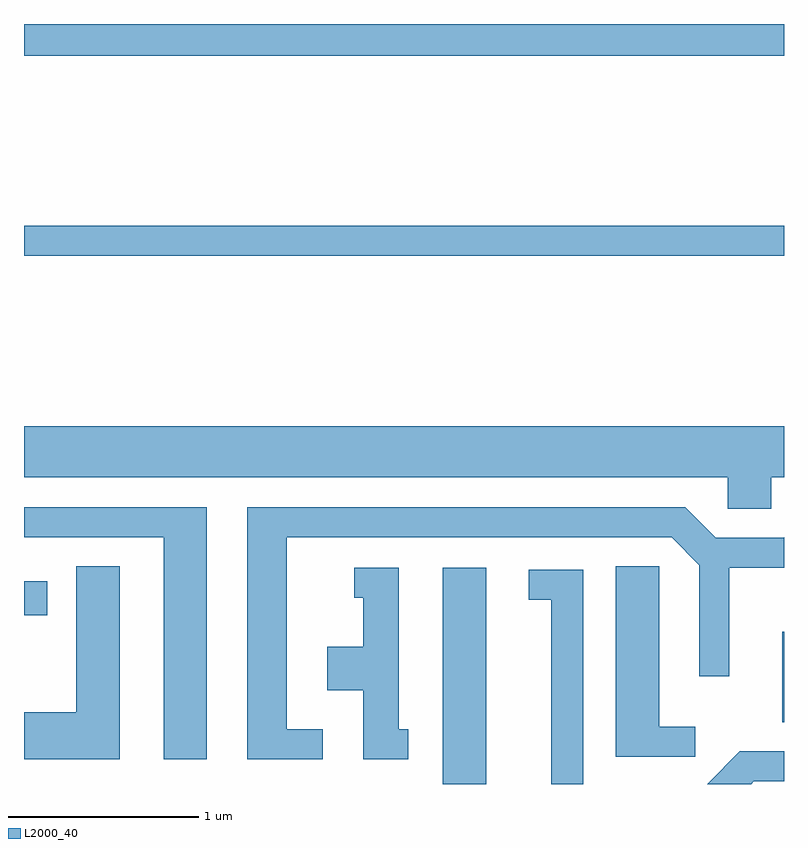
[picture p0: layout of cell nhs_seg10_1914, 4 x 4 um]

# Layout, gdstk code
import gdstk
lib = gdstk.Library(unit=1e-6, precision=1e-09)
def R(c, l, rs):  # rectangles x0, y0, x1, y1
    for r in rs: c.add(gdstk.rectangle(r[:2], r[2:], *l))
def P(c, l, *ps):  # polygons
    for p in ps: c.add(gdstk.Polygon(p, *l))
L2000_40 = (2000, 40)

nhs_seg10_1914 = lib.new_cell('nhs_seg10_1914')
R(nhs_seg10_1914, L2000_40, [(243.816,2114.522,244.044,2115.659), (245.601,2114.846,245.611,2115.324), (241.611,2115.411,241.734,2115.589), (241.611,2117.301,245.611,2117.459), (241.611,2118.356,245.611,2118.522)])
P(nhs_seg10_1914, L2000_40, [(245.544,2116.136),(245.611,2116.136),(245.611,2116.404),(241.611,2116.404),(241.611,2116.136),(245.316,2116.136),(245.316,2115.971),(245.544,2115.971)],
  [(242.574,2115.979),(241.611,2115.979),(241.611,2115.821),(242.346,2115.821),(242.346,2114.651),(242.574,2114.651)],
  [(243.183,2114.809),(242.994,2114.809),(242.994,2115.821),(245.019,2115.821),(245.166,2115.674),(245.166,2115.088),(245.324,2115.088),(245.324,2115.661),(245.611,2115.661),(245.611,2115.821),(245.609,2115.819),(245.252,2115.819),(245.092,2115.979),(242.786,2115.979),(242.786,2114.651),(243.183,2114.651)],
  [(245.143,2114.824),(244.954,2114.824),(244.954,2115.669),(244.726,2115.669),(244.726,2114.666),(245.143,2114.666)],
  [(242.114,2115.669),(241.886,2115.669),(241.886,2114.899),(241.611,2114.899),(241.611,2114.651),(242.114,2114.651)],
  [(243.633,2114.809),(243.584,2114.809),(243.584,2115.659),(243.348,2115.659),(243.348,2115.501),(243.396,2115.501),(243.396,2115.244),(243.206,2115.244),(243.206,2115.016),(243.396,2115.016),(243.396,2114.651),(243.633,2114.651)],
  [(244.554,2115.649),(244.268,2115.649),(244.268,2115.491),(244.386,2115.491),(244.386,2114.522),(244.554,2114.522)],
  [(245.452,2114.536),(245.611,2114.536),(245.611,2114.694),(245.379,2114.694),(245.207,2114.522),(245.438,2114.522)])

lib.write_gds('nhs_seg10_1914.gds')
